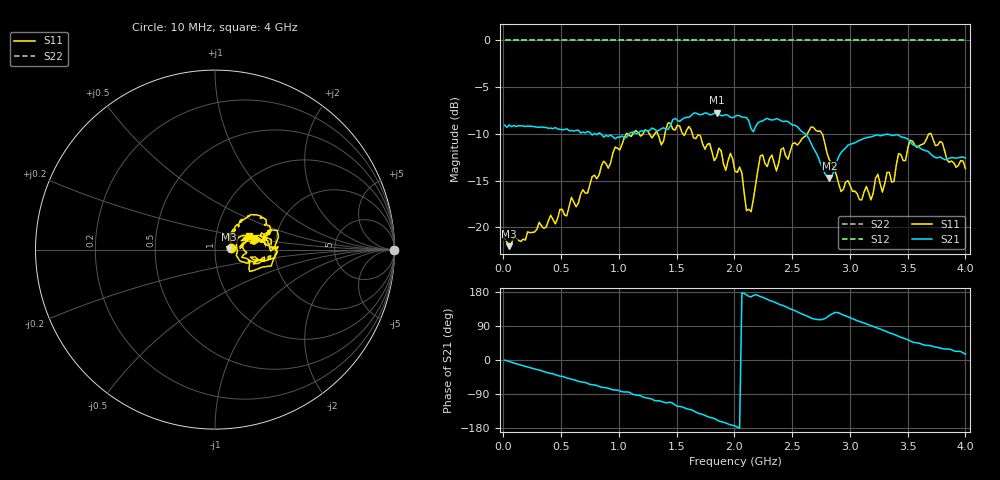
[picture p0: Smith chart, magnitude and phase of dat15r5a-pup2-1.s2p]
! Anritsu VNA Master:  Model: MS2024B
! SN:  2417009
! /card0/usr/dat15r5a-pup2-1.s2p
! Existing Calibration Information:
! TYPE:  Current Settings,  Active Cal Settings
! TIME:  11/03/2026 02:52:09 PM,  11/03/2026 01:15:51 PM
! INTERNAL TEMP:  49.0 C,  37.0 C
! # POINTS:  201,  201
! START FREQ:  10.000 MHz,  10.000 MHz
! STOP FREQ:  4.000 GHz,  4.000 GHz
! SOURCE POWER:  Default,  Default
! IFBW:  1 kHz,  1 kHz
! AVG FACTOR:  1 ,  1
! REF PLANE 1:  0 mm,  0 mm
! REF PLANE 2:  0 mm,  0 mm
! CAL TYPE:  1P2P S11,S21,  1P2P S11,S21
! CAL METHOD:  SOLT,  SOLT
! CAL LINE TYPE:  Coax,  Coax
! DUT PORT 1:  N-Conn(M),  N-Conn(M)
! DUT PORT 2:  N-Conn(M),  N-Conn(M)
! CAL STATUS:  X: Accuracy low (|Temp diff| > 10.0 C),  --
# GHZ S DB R 50.0
! FREQ.GHZ  S11DB  S11A  S21DB  S21A  S12DB  S12A  S22DB  S22A
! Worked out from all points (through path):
!   201 points, 10 MHz to 4 GHz, reference 50 ohm
!   highest |S21| = -7.74 dB at 1.845 GHz (marker M1); lowest = -14.7 dB at 2.823 GHz (marker M2)
!   group delay of S21, straight-line fit = 243 ps
!   lowest |S11| = -22.0 dB at 49.9 MHz (marker M3), VSWR 1.17, Z = 58.6 + j0.186 ohm
!   |S11| at or under -10 dB: start of sweep to 1.064 GHz; 1.636 GHz to 2.631 GHz (995.3 MHz wide, 46.7 % of centre); 2.761 GHz to 3.688 GHz (927.3 MHz wide, 28.8 % of centre)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
!   |S22| runs from 0.0 to 0.0 dB; largest |S21 - S12| = 1.4
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0.01  -21.20 7.3  -9.07 -0.4  0.00 0.0  0.00 0.0
0.0499  -22.02 1.1  -9.04 -4.1  0.00 0.0  0.00 0.0
0.6883  -15.97 45.6  -9.80 -58.6  0.00 0.0  0.00 0.0
1.06735  -9.93 35.4  -10.36 -84.4  0.00 0.0  0.00 0.0
1.34665  -10.34 15.5  -9.62 -107.7  0.00 0.0  0.00 0.0
1.606  -9.21 -2.5  -8.22 -130.2  0.00 0.0  0.00 0.0
1.8454  -12.47 -15.8  -7.74 -157.6  0.00 0.0  0.00 0.0
2.005  -14.00 -18.8  -8.14 -173.9  0.00 0.0  0.00 0.0
2.0449  -13.55 -18.2  -8.07 -180.0  0.00 0.0  0.00 0.0
2.10475  -18.22 -15.1  -8.26 172.0  0.00 0.0  0.00 0.0
2.14465  -18.33 10.4  -9.44 166.6  0.00 0.0  0.00 0.0
2.22445  -12.36 15.2  -8.68 167.5  0.00 0.0  0.00 0.0
2.3641  -13.96 10.7  -8.36 150.2  0.00 0.0  0.00 0.0
2.404  -11.65 9.9  -8.59 145.2  0.00 0.0  0.00 0.0
2.46385  -12.70 17.2  -8.67 137.5  0.00 0.0  0.00 0.0
2.6833  -9.29 -2.6  -11.52 108.8  0.00 0.0  0.00 0.0
2.82295  -12.80 -32.3  -14.71 117.6  0.00 0.0  0.00 0.0
2.9227  -16.16 -16.2  -12.01 121.3  0.00 0.0  0.00 0.0
3.0823  -17.03 2.8  -10.68 101.8  0.00 0.0  0.00 0.0
3.34165  -14.11 22.4  -10.07 71.9  0.00 0.0  0.00 0.0
3.70075  -9.95 10.0  -12.18 37.4  0.00 0.0  0.00 0.0
4  -13.72 21.5  -12.59 15.6  0.00 0.0  0.00 0.0
